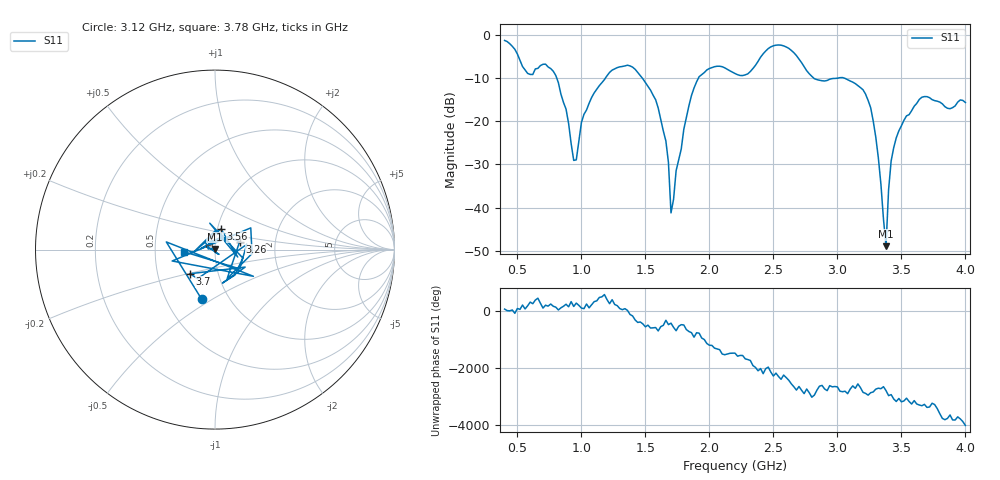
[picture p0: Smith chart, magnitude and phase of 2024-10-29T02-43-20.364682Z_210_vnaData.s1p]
!Created with skrf (http://scikit-rf.org).
# Hz S RI R 50.0
!freq ReS11 ImS11
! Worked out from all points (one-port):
!   181 points, 400 MHz to 4 GHz, reference 50 ohm
!   lowest |S11| = -49.0 dB at 3.38 GHz (marker M1), VSWR 1.01, Z = 50 + j0.356 ohm
!   |S11| at or under -10 dB: 808 MHz to 1.186 GHz (378.3 MHz wide, 37.9 % of centre); 1.477 GHz to 1.913 GHz (436.1 MHz wide, 25.7 % of centre); 3.059 GHz to end of sweep (the widest 3 of 4)
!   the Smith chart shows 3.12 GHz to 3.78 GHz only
!   S11 on the Smith chart (normalised r, x): 3.12 GHz: 0.75, -0.45; 3.26 GHz: 1.31, +0.12; 3.56 GHz: 1.04, +0.24; 3.7 GHz: 0.73, -0.20; 3.78 GHz: 0.71, -0.02
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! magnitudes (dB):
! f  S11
! 400 MHz  -1.2
! 580 MHz  -8.8
! 780 MHz  -8.3
! 860 MHz  -15.6
! 960 MHz  -28.9
! 1 GHz  -20.3
! 1.08 GHz  -14.4
! 1.3 GHz  -7.3
! 1.58 GHz  -15.0
! 1.66 GHz  -24.5
! 1.68 GHz  -29.5
! 1.7 GHz  -41.2
! 1.76 GHz  -28.9
! 1.92 GHz  -9.6
! 2.2 GHz  -8.9
! 2.5 GHz  -2.4
! 2.66 GHz  -4.0
! 2.82 GHz  -10.1
! 3.1 GHz  -10.6
! 3.12 GHz  -10.9
! 3.26 GHz  -16.8
! 3.32 GHz  -28.5
! 3.38 GHz  -49.0
! 3.42 GHz  -29.2
! 3.56 GHz  -18.4
! 3.7 GHz  -14.3
! 3.78 GHz  -15.3
! 4 GHz  -15.6
